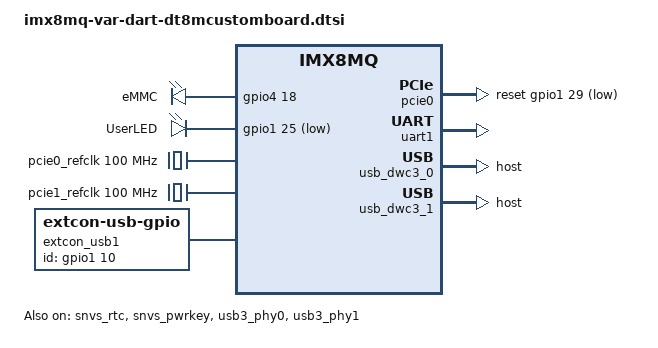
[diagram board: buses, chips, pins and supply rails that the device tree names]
// SPDX-License-Identifier: (GPL-2.0 OR MIT)
/*
 * Copyright 2017 NXP
 * Copyright (C) 2017-2018 Pengutronix, Lucas Stach <kernel@pengutronix.de>
 * Copyright 2018-2021 Variscite Ltd.
 */

#include "imx8mq-var-dart.dtsi"

/ {
	chosen {
		bootargs = "console=ttymxc0,115200 earlycon=ec_imx6q,0x30860000,115200";
		stdout-path = &uart1;
	};

	leds {
		compatible = "gpio-leds";
		pinctrl-names = "default";
		pinctrl-0 = <&pinctrl_leds>;

		emmc {
			label = "eMMC";
			gpios = <&gpio4 18 GPIO_ACTIVE_HIGH>;
			linux,default-trigger = "mmc0";
		};

		user {
			label = "UserLED";
			gpios = <&gpio1 25 GPIO_ACTIVE_LOW>;
			linux;
		};
	};

	pcie0_refclk: pcie0-refclk {
		compatible = "fixed-clock";
		#clock-cells = <0>;
		clock-frequency = <100000000>;
	};

	pcie1_refclk: pcie1-refclk {
		compatible = "fixed-clock";
		#clock-cells = <0>;
		clock-frequency = <100000000>;
	};

	extcon_usb1: extcon_usb1 {
		compatible = "linux,extcon-usb-gpio";
		pinctrl-names = "default";
		pinctrl-0 = <&pinctrl_extcon>;
		id-gpio = <&gpio1 10 GPIO_ACTIVE_HIGH>;
		status = "okay";
	};
};

&iomuxc {

	pinctrl_leds: ledgrp {
		fsl,pins = <
			MX8MQ_IOMUXC_SAI1_TXD5_GPIO4_IO17		0xc6
		>;
	};

	pinctrl_extcon: extcongrp {
		fsl,pins = <
			MX8MQ_IOMUXC_GPIO1_IO10_GPIO1_IO10		0x16
		>;
	};

	pinctrl_uart1: uart1grp {
		fsl,pins = <
			MX8MQ_IOMUXC_UART1_RXD_UART1_DCE_RX		0x49
			MX8MQ_IOMUXC_UART1_TXD_UART1_DCE_TX		0x49
		>;
	};

	pinctrl_usdhc2: usdhc2grp {
		fsl,pins = <
			MX8MQ_IOMUXC_SD2_CLK_USDHC2_CLK			0x83
			MX8MQ_IOMUXC_SD2_CMD_USDHC2_CMD			0xc3
			MX8MQ_IOMUXC_SD2_DATA0_USDHC2_DATA0		0xc3
			MX8MQ_IOMUXC_SD2_DATA1_USDHC2_DATA1		0xc3
			MX8MQ_IOMUXC_SD2_DATA2_USDHC2_DATA2		0xc3
			MX8MQ_IOMUXC_SD2_DATA3_USDHC2_DATA3		0xc3
		>;
	};

	pinctrl_usdhc2_100mhz: usdhc2-100grp {
		fsl,pins = <
			MX8MQ_IOMUXC_SD2_CLK_USDHC2_CLK			0x85
			MX8MQ_IOMUXC_SD2_CMD_USDHC2_CMD			0xc5
			MX8MQ_IOMUXC_SD2_DATA0_USDHC2_DATA0		0xc5
			MX8MQ_IOMUXC_SD2_DATA1_USDHC2_DATA1		0xc5
			MX8MQ_IOMUXC_SD2_DATA2_USDHC2_DATA2		0xc5
			MX8MQ_IOMUXC_SD2_DATA3_USDHC2_DATA3		0xc5
		>;
	};

	pinctrl_usdhc2_200mhz: usdhc2-200grp {
		fsl,pins = <
			MX8MQ_IOMUXC_SD2_CLK_USDHC2_CLK			0x87
			MX8MQ_IOMUXC_SD2_CMD_USDHC2_CMD			0xc7
			MX8MQ_IOMUXC_SD2_DATA0_USDHC2_DATA0		0xc7
			MX8MQ_IOMUXC_SD2_DATA1_USDHC2_DATA1		0xc7
			MX8MQ_IOMUXC_SD2_DATA2_USDHC2_DATA2		0xc7
			MX8MQ_IOMUXC_SD2_DATA3_USDHC2_DATA3		0xc7
		>;
	};
	
	pinctrl_pcie0: pcie0grp {
		fsl,pins = <
			MX8MQ_IOMUXC_ENET_RD3_GPIO1_IO29		0x16
		>;
	};

	pinctrl_pcie1: pcie1grp {
		fsl,pins = <
			MX8MQ_IOMUXC_ENET_RD2_GPIO1_IO28		0x16
		>;
	};
};

&pcie0 {
	reset-gpio = <&gpio1 29 GPIO_ACTIVE_LOW>;
	clocks = <&clk IMX8MQ_CLK_PCIE1_ROOT>,
		 <&clk IMX8MQ_CLK_PCIE1_AUX>,
		 <&clk IMX8MQ_CLK_PCIE1_PHY>,
		 <&pcie0_refclk>;
	clock-names = "pcie", "pcie_aux", "pcie_phy", "pcie_bus";
	vph-supply = <&vgen5_reg>;
	status = "okay";
};

&pcie1 {
	reset-gpio = <&gpio1 28 GPIO_ACTIVE_LOW>;
	clocks = <&clk IMX8MQ_CLK_PCIE2_ROOT>,
		 <&clk IMX8MQ_CLK_PCIE2_AUX>,
		 <&clk IMX8MQ_CLK_PCIE2_PHY>,
		 <&pcie1_refclk>;
	clock-names = "pcie", "pcie_aux", "pcie_phy", "pcie_bus";
	vph-supply = <&vgen5_reg>;
	status = "disabled";
};

&snvs_rtc {
	status = "okay";
};

&snvs_pwrkey {
	status = "okay";
};

/* Console */
&uart1 {
	pinctrl-names = "default";
	pinctrl-0 = <&pinctrl_uart1>;
	assigned-clocks = <&clk IMX8MQ_CLK_UART1>;
	assigned-clock-parents = <&clk IMX8MQ_CLK_25M>;
	status = "okay";
};

&usb3_phy0 {
	status = "okay";
};

&usb_dwc3_0 {
	dr_mode = "host";
	hnp-disable;
	srp-disable;
	adp-disable;
	snps,dis-u1-entry-quirk;
	snps,dis-u2-entry-quirk;
	status = "okay";
};

&usb3_phy1 {
	status = "okay";
};

&usb_dwc3_1 {
	dr_mode = "host";
	status = "okay";
};
